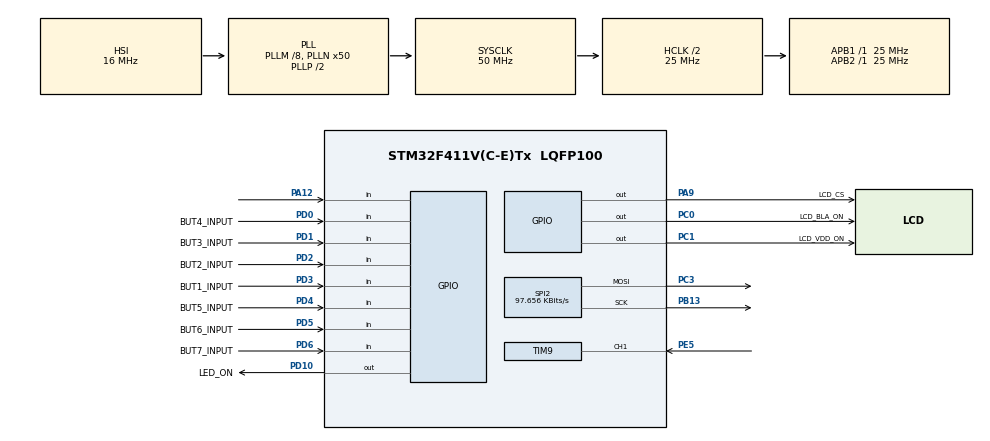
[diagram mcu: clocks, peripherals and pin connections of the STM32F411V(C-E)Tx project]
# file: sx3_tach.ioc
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Mcu.Family=STM32F4
Mcu.Name=STM32F411V(C-E)Tx
Mcu.Package=LQFP100
NVIC.PriorityGroup=NVIC_PRIORITYGROUP_4
NVIC.TIM2_IRQn=true\:0\:0\:false\:false\:true\:true\:true
PA12.Signal=GPIO_Input
PA13.Mode=Serial_Wire
PA13.Signal=SYS_JTMS-SWDIO
PA14.Mode=Serial_Wire
PA14.Signal=SYS_JTCK-SWCLK
PA9.GPIO_Label=LCD_CS
PA9.Signal=GPIO_Output
PB13.Mode=TX_Only_Simplex_Unidirect_Master
PB13.Signal=SPI2_SCK
PC0.GPIO_Label=LCD_BLA_ON
PC0.PinState=GPIO_PIN_SET
PC0.Signal=GPIO_Output
PC1.GPIO_Label=LCD_VDD_ON
PC1.PinState=GPIO_PIN_SET
PC1.Signal=GPIO_Output
PC3.Mode=TX_Only_Simplex_Unidirect_Master
PC3.Signal=SPI2_MOSI
PD0.GPIO_Label=BUT4_INPUT
PD0.Signal=GPIO_Input
PD1.GPIO_Label=BUT3_INPUT
PD1.Signal=GPIO_Input
PD10.GPIO_Label=LED_ON
PD10.PinState=GPIO_PIN_SET
PD10.Signal=GPIO_Output
PD2.GPIO_Label=BUT2_INPUT
PD2.Signal=GPIO_Input
PD3.GPIO_Label=BUT1_INPUT
PD3.Signal=GPIO_Input
PD4.GPIO_Label=BUT5_INPUT
PD4.Signal=GPIO_Input
PD5.GPIO_Label=BUT6_INPUT
PD5.Signal=GPIO_Input
PD6.GPIO_Label=BUT7_INPUT
PD6.Signal=GPIO_Input
PE11.Signal=S_TIM1_CH2
PE5.GPIO_PuPd=GPIO_PULLUP
PE5.Signal=S_TIM9_CH1
PH0\ -\ OSC_IN.Mode=HSE-External-Oscillator
PH0\ -\ OSC_IN.Signal=RCC_OSC_IN
PH1\ -\ OSC_OUT.Mode=HSE-External-Oscillator
PH1\ -\ OSC_OUT.Signal=RCC_OSC_OUT
ProjectManager.HeapSize=0x200
ProjectManager.StackSize=0x400
ProjectManager.TargetToolchain=TrueSTUDIO
RCC.48MHZClocksFreq_Value=25000000
RCC.AHBCLKDivider=RCC_SYSCLK_DIV2
RCC.AHBFreq_Value=25000000
RCC.APB1Freq_Value=25000000
RCC.APB1TimFreq_Value=25000000
RCC.APB2Freq_Value=25000000
RCC.APB2TimFreq_Value=25000000
RCC.CortexFreq_Value=25000000
RCC.HCLKFreq_Value=25000000
RCC.HSE_VALUE=8000000
RCC.HSI_VALUE=16000000
RCC.LSE_VALUE=32768
RCC.PLLM=8
RCC.PLLN=50
RCC.SYSCLKFreq_VALUE=50000000
RCC.SYSCLKSource=RCC_SYSCLKSOURCE_PLLCLK
RCC.VCOOutputFreq_Value=100000000
SH.S_TIM1_CH2.0=TIM1_CH2
SH.S_TIM9_CH1.0=TIM9_CH1,TriggerSource_TI1FP1
SPI2.BaudRatePrescaler=SPI_BAUDRATEPRESCALER_256
SPI2.CLKPhase=SPI_PHASE_2EDGE
SPI2.CLKPolarity=SPI_POLARITY_HIGH
SPI2.CalculateBaudRate=97.656 KBits/s
SPI2.Direction=SPI_DIRECTION_2LINES
SPI2.Mode=SPI_MODE_MASTER
SPI2.VirtualType=VM_MASTER
TIM2.AutoReloadPreload=TIM_AUTORELOAD_PRELOAD_ENABLE
TIM2.Period=25000000
TIM2.TIM_MasterOutputTrigger=TIM_TRGO_ENABLE
TIM9.AutoReloadPreload=TIM_AUTORELOAD_PRELOAD_ENABLE
TIM9.Period=65000
VP_TIM2_VS_ClockSourceINT.Mode=Internal
VP_TIM9_VS_ControllerModeClock.Mode=Clock Mode
board=custom

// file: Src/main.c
/* USER CODE BEGIN Header */
/**
  ******************************************************************************
  * @file           : main.c
  * @brief          : Main program body
  ******************************************************************************
  * @attention
  *
  * <h2><center>&copy; Copyright (c) 2019 STMicroelectronics.
  * All rights reserved.</center></h2>
  *
  * This software component is licensed by ST under BSD 3-Clause license,
  * the "License"; You may not use this file except in compliance with the
  * License. You may obtain a copy of the License at:
  *                        opensource.org/licenses/BSD-3-Clause
  *
  ******************************************************************************
  */
/* USER CODE END Header */

#include "main.h"
#include "spi.h"
#include "tim.h"
#include "gpio.h"

void SystemClock_Config(void);

/* USER CODE BEGIN 0 */
/* global for RPM */
uint16_t CURRENT_RPM = 0;
/* USER CODE END 0 */

int main(void)
{

  /* MCU Configuration--------------------------------------------------------*/

  /* Reset of all peripherals, Initializes the Flash interface and the Systick. */
  HAL_Init();

  /* Configure the system clock */
  SystemClock_Config();

  /* Initialize all configured peripherals */
  MX_GPIO_Init();
  MX_SPI2_Init();
  MX_TIM2_Init();
  MX_TIM9_Init();
  /* USER CODE BEGIN 2 */
  initialize_lcd();
  /* USER CODE END 2 */

  /* Infinite loop */
  /* USER CODE BEGIN WHILE */
  HAL_TIM_Base_Start_IT(&htim2);
  HAL_TIM_Base_Start(&htim9);

  while (1)
  {
    /* USER CODE END WHILE */

    /* USER CODE BEGIN 3 */

	  delay_nops(100000);
	  if(CURRENT_RPM > 0) {
		  write_to_lcd(CURRENT_RPM, LCD_FLAG_FORWARD);
	  } else {
		  write_to_lcd(CURRENT_RPM, 0);
	  }

  }
  /* USER CODE END 3 */
}

void SystemClock_Config(void)
{
  RCC_OscInitTypeDef RCC_OscInitStruct = {0};
  RCC_ClkInitTypeDef RCC_ClkInitStruct = {0};

  /** Configure the main internal regulator output voltage
  */
  __HAL_RCC_PWR_CLK_ENABLE();
  __HAL_PWR_VOLTAGESCALING_CONFIG(PWR_REGULATOR_VOLTAGE_SCALE1);
  /** Initializes the CPU, AHB and APB busses clocks
  */
  RCC_OscInitStruct.OscillatorType = RCC_OSCILLATORTYPE_HSI;
  RCC_OscInitStruct.HSIState = RCC_HSI_ON;
  RCC_OscInitStruct.HSICalibrationValue = RCC_HSICALIBRATION_DEFAULT;
  RCC_OscInitStruct.PLL.PLLState = RCC_PLL_ON;
  RCC_OscInitStruct.PLL.PLLSource = RCC_PLLSOURCE_HSI;
  RCC_OscInitStruct.PLL.PLLM = 8;
  RCC_OscInitStruct.PLL.PLLN = 50;
  RCC_OscInitStruct.PLL.PLLP = RCC_PLLP_DIV2;
  RCC_OscInitStruct.PLL.PLLQ = 4;
  if (HAL_RCC_OscConfig(&RCC_OscInitStruct) != HAL_OK)
  {
    Error_Handler();
  }
  /** Initializes the CPU, AHB and APB busses clocks
  */
  RCC_ClkInitStruct.ClockType = RCC_CLOCKTYPE_HCLK|RCC_CLOCKTYPE_SYSCLK
                              |RCC_CLOCKTYPE_PCLK1|RCC_CLOCKTYPE_PCLK2;
  RCC_ClkInitStruct.SYSCLKSource = RCC_SYSCLKSOURCE_PLLCLK;
  RCC_ClkInitStruct.AHBCLKDivider = RCC_SYSCLK_DIV2;
  RCC_ClkInitStruct.APB1CLKDivider = RCC_HCLK_DIV1;
  RCC_ClkInitStruct.APB2CLKDivider = RCC_HCLK_DIV1;

  if (HAL_RCC_ClockConfig(&RCC_ClkInitStruct, FLASH_LATENCY_0) != HAL_OK)
  {
    Error_Handler();
  }
}

/* USER CODE BEGIN 4 */
/* USER CODE BEGIN 4 */
/**
  * @brief  Period elapsed callback in non blocking mode
  * @param  htim: TIM handle
  * @retval None
  */
void HAL_TIM_PeriodElapsedCallback(TIM_HandleTypeDef *htim)
{
	//static uint16_t rpm_history[10];
	//static uint8_t first_time_flag = 1;
	static uint8_t toggle = 0;
	uint16_t current_rpm = 0;
    if (htim->Instance == htim2.Instance)
    {

    	current_rpm = __HAL_TIM_GET_COUNTER(&htim9);
    	__HAL_TIM_SET_COUNTER(&htim9, 0);
    	current_rpm *= 60; //convert from rps to rpm
    	CURRENT_RPM = current_rpm; //save in global

    	/* toggle LED */
    	if(toggle == 0) {
    		HAL_GPIO_WritePin(LED_ON_GPIO_Port, LED_ON_Pin, GPIO_PIN_RESET);
    		toggle = 1;
    	} else {
    		HAL_GPIO_WritePin(LED_ON_GPIO_Port, LED_ON_Pin, GPIO_PIN_SET);
    		toggle = 0;
    	}
    }
}
/* USER CODE END 4 */

void Error_Handler(void)
{
}

/************************ (C) COPYRIGHT STMicroelectronics *****END OF FILE****/
